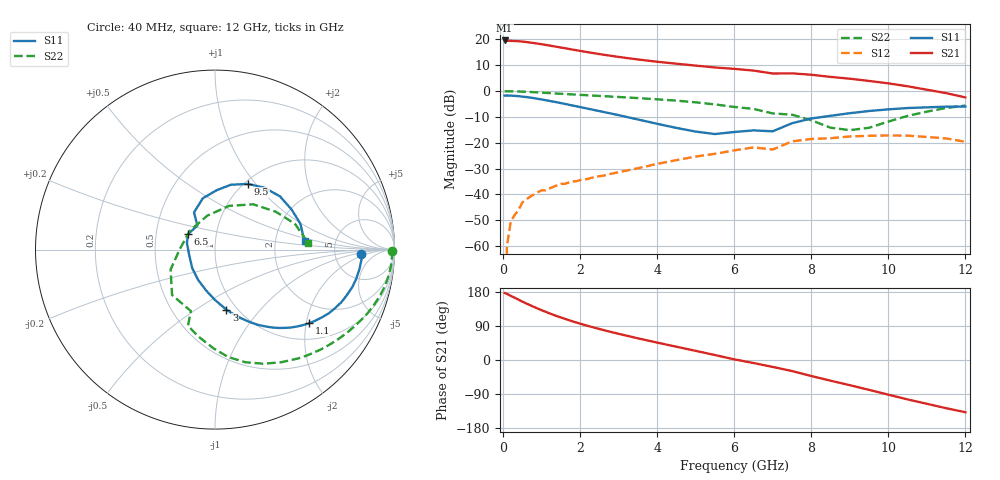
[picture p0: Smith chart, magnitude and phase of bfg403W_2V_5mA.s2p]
! Filename: 25bfg403.001
! BFG403W Field A1
! V1=8.967E-001V,V2=2.000E+000V, I1=7.791E-005A, I2=4.990E-003A
# GHz  S  MA  R 50
!  S11  S21  S12  S22
!Freq(GHz)  Mag  Ang  Mag  Ang  Mag  Ang  Mag  Ang
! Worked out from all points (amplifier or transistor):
!   44 points, 40 MHz to 12 GHz, reference 50 ohm
!   highest |S21| = 19.5 dB at 40 MHz (marker M1)
!   |S21| within 3 dB of that: start of sweep to 1.603 GHz
!   S11 on the Smith chart (normalised r, x): 40 MHz: 9.66, -1.40; 1.1 GHz: 1.41, -2.07; 3 GHz: 0.89, -0.68; 6.5 GHz: 0.73, +0.13; 9.5 GHz: 1.04, +0.92; 12 GHz: 2.96, +0.36
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0.04  0.816 -1.7  9.469 176.8  0 58.0  0.984 -0.4
0.1  0.818 -3.9  9.347 174.5  0.001 93.4  0.987 -2.0
0.2  0.812 -7.8  9.312 169.4  0.003 83.6  0.986 -4.4
0.4  0.794 -15.0  9.146 159.3  0.005 78.5  0.977 -8.9
0.6  0.763 -22.5  8.833 149.3  0.008 73.9  0.964 -13.2
0.8  0.727 -29.2  8.428 140.1  0.01 70.4  0.947 -17.2
1.1  0.665 -38.2  7.782 127.3  0.012 65.9  0.92 -22.8
1.3  0.623 -43.6  7.33 119.4  0.014 63.7  0.9 -26.4
1.6  0.563 -50.9  6.71 108.7  0.016 61.4  0.874 -31.3
1.9  0.506 -57.4  6.127 99.0  0.018 59.8  0.849 -36.0
2.2  0.455 -63.5  5.617 90.1  0.02 59.0  0.825 -40.5
2.6  0.394 -71.3  5.031 79.2  0.023 58.5  0.794 -46.4
3  0.341 -79.2  4.55 69.1  0.027 57.8  0.765 -52.3
3.5  0.281 -89.9  4.063 57.2  0.032 56.2  0.728 -59.6
4.5  0.193 -119.3  3.36 35.0  0.046 49.2  0.65 -74.9
5.5  0.147 -166.3  2.846 13.1  0.061 37.8  0.55 -90.9
6.5  0.173 149.8  2.478 -8.0  0.081 26.3  0.45 -109.5
8  0.294 103.3  2.058 -42.2  0.118 -0.9  0.271 -155.9
8.5  0.331 88.4  1.871 -54.6  0.122 -12.5  0.195 178.5
9.5  0.41 63.2  1.561 -78.8  0.136 -36.7  0.194 102.8
10.5  0.468 39.4  1.232 -104.0  0.137 -63.1  0.33 49.8
12  0.501 5.2  0.75 -137.8  0.104 -106.2  0.521 4.0
